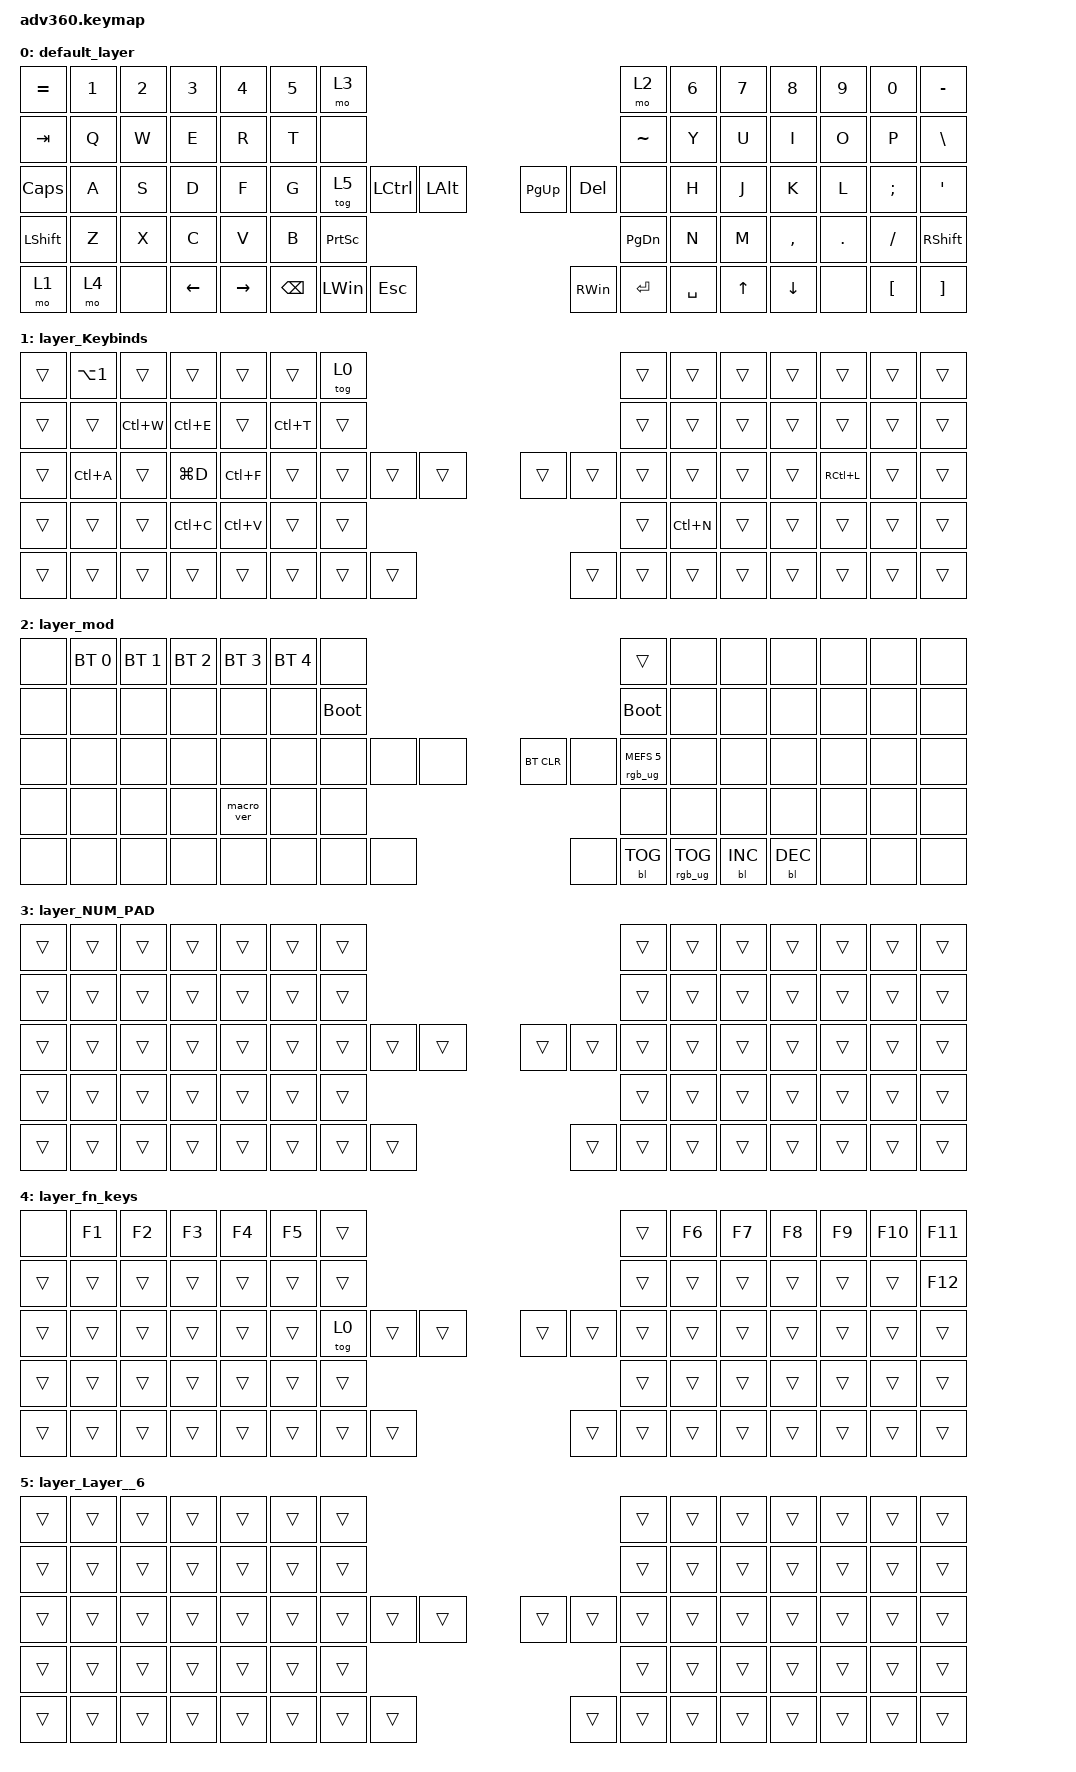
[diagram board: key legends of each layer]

/*
 * Copyright (c) 2020 The ZMK Contributors
 *
 * SPDX-License-Identifier: MIT
 */


/* THIS FILE WAS GENERATED!
 *
 * This file was generated automatically. You may or may not want to
 * edit it directly.
 */

#include <behaviors.dtsi>
#include <dt-bindings/zmk/keys.h>
#include <dt-bindings/zmk/bt.h>
#include <dt-bindings/zmk/rgb.h>
#include <dt-bindings/zmk/backlight.h>

/ {
  behaviors {
    #include "macros.dtsi"
    #include "version.dtsi"

    hm: homerow_mods {
        compatible = "zmk,behavior-hold-tap";
        label = "HOMEROW_MODS";
        #binding-cells = <2>;
        tapping-term-ms = <200>;
        quick_tap_ms = <175>;
        flavor = "tap-preferred";
        bindings = <&kp>, <&kp>;
    };
  };

    keymap {
        compatible = "zmk,keymap";


        default_layer {
            bindings = <
 &kp EQUAL  &kp N1  &kp N2          &kp N3           &kp N4  &kp N5               &mo 3                                                                                &mo 2  &kp N6        &kp N7          &kp N8   &kp N9            &kp N0          &kp MINUS
   &kp TAB   &kp Q   &kp W           &kp E            &kp R   &kp T               &none                                                                            &kp TILDE   &kp Y         &kp U           &kp I    &kp O             &kp P      &kp BACKSLASH
  &kp CAPS   &kp A   &kp S           &kp D            &kp F   &kp G              &tog 5     &kp LCTRL         &kp LALT                    &kp PAGE_UP  &kp DELETE      &none   &kp H         &kp J           &kp K    &kp L          &kp SEMI            &kp SQT
 &kp LSHFT   &kp Z   &kp X           &kp C            &kp V   &kp B                                    &kp PRINTSCREEN                  &kp PAGE_DOWN                          &kp N         &kp M       &kp COMMA  &kp DOT          &kp FSLH    &kp RIGHT_SHIFT
     &mo 1   &mo 4   &none  &kp LEFT_ARROW  &kp RIGHT_ARROW                    &kp BSPC  &kp LEFT_WIN          &kp ESC                  &kp RIGHT_WIN   &kp ENTER  &kp SPACE          &kp UP_ARROW  &kp DOWN_ARROW    &none  &kp LEFT_BRACKET  &kp RIGHT_BRACKET
            >;
        };

        layer_Keybinds {
            bindings = <
 &trans  &kp LA(1)     &trans     &trans     &trans     &trans            &tog 0                                                  &trans     &trans  &trans  &trans     &trans  &trans  &trans
 &trans     &trans  &kp LC(W)  &kp LC(E)     &trans  &kp LC(T)            &trans                                                  &trans     &trans  &trans  &trans     &trans  &trans  &trans
 &trans  &kp LC(A)     &trans  &kp LG(D)  &kp LC(F)     &trans            &trans  &trans  &trans                  &trans  &trans  &trans     &trans  &trans  &trans  &kp RC(L)  &trans  &trans
 &trans     &trans     &trans  &kp LC(C)  &kp LC(V)     &trans                            &trans                  &trans                  &kp LC(N)  &trans  &trans     &trans  &trans  &trans
 &trans     &trans     &trans     &trans     &trans                       &trans  &trans  &trans                  &trans  &trans  &trans             &trans  &trans     &trans  &trans  &trans
            >;
        };

        layer_mod {
            bindings = <
  &none  &bt BT_SEL 0  &bt BT_SEL 1  &bt BT_SEL 2  &bt BT_SEL 3  &bt BT_SEL 4                  &none                                                                          &trans   &none       &none       &none   &none   &none   &none
  &none         &none         &none         &none         &none         &none            &bootloader                                                                     &bootloader   &none       &none       &none   &none   &none   &none
  &none         &none         &none         &none         &none         &none                  &none   &none   &none                  &bt BT_CLR       &none  &rgb_ug RGB_MEFS_CMD 5   &none       &none       &none   &none   &none   &none
  &none         &none         &none         &none    &macro_ver         &none                                  &none                       &none                                       &none       &none       &none   &none   &none   &none
  &none         &none         &none         &none         &none                                &none   &none   &none                       &none  &bl BL_TOG         &rgb_ug RGB_TOG          &bl BL_INC  &bl BL_DEC   &none   &none   &none
            >;
        };

        layer_NUM_PAD {
            bindings = <
 &trans  &trans  &trans  &trans  &trans  &trans            &trans                                                  &trans  &trans  &trans  &trans  &trans  &trans  &trans
 &trans  &trans  &trans  &trans  &trans  &trans            &trans                                                  &trans  &trans  &trans  &trans  &trans  &trans  &trans
 &trans  &trans  &trans  &trans  &trans  &trans            &trans  &trans  &trans                  &trans  &trans  &trans  &trans  &trans  &trans  &trans  &trans  &trans
 &trans  &trans  &trans  &trans  &trans  &trans                            &trans                  &trans                  &trans  &trans  &trans  &trans  &trans  &trans
 &trans  &trans  &trans  &trans  &trans                    &trans  &trans  &trans                  &trans  &trans  &trans          &trans  &trans  &trans  &trans  &trans
            >;
        };

        layer_fn_keys {
            bindings = <
  &none  &kp F1  &kp F2  &kp F3  &kp F4  &kp F5            &trans                                                  &trans  &kp F6  &kp F7  &kp F8  &kp F9  &kp F10  &kp F11
 &trans  &trans  &trans  &trans  &trans  &trans            &trans                                                  &trans  &trans  &trans  &trans  &trans   &trans  &kp F12
 &trans  &trans  &trans  &trans  &trans  &trans            &tog 0  &trans  &trans                  &trans  &trans  &trans  &trans  &trans  &trans  &trans   &trans   &trans
 &trans  &trans  &trans  &trans  &trans  &trans                            &trans                  &trans                  &trans  &trans  &trans  &trans   &trans   &trans
 &trans  &trans  &trans  &trans  &trans                    &trans  &trans  &trans                  &trans  &trans  &trans          &trans  &trans  &trans   &trans   &trans
            >;
        };

        layer_Layer__6 {
            bindings = <
 &trans  &trans  &trans  &trans  &trans  &trans            &trans                                                  &trans  &trans  &trans  &trans  &trans  &trans  &trans
 &trans  &trans  &trans  &trans  &trans  &trans            &trans                                                  &trans  &trans  &trans  &trans  &trans  &trans  &trans
 &trans  &trans  &trans  &trans  &trans  &trans            &trans  &trans  &trans                  &trans  &trans  &trans  &trans  &trans  &trans  &trans  &trans  &trans
 &trans  &trans  &trans  &trans  &trans  &trans                            &trans                  &trans                  &trans  &trans  &trans  &trans  &trans  &trans
 &trans  &trans  &trans  &trans  &trans                    &trans  &trans  &trans                  &trans  &trans  &trans          &trans  &trans  &trans  &trans  &trans
            >;
        };

    };
};
